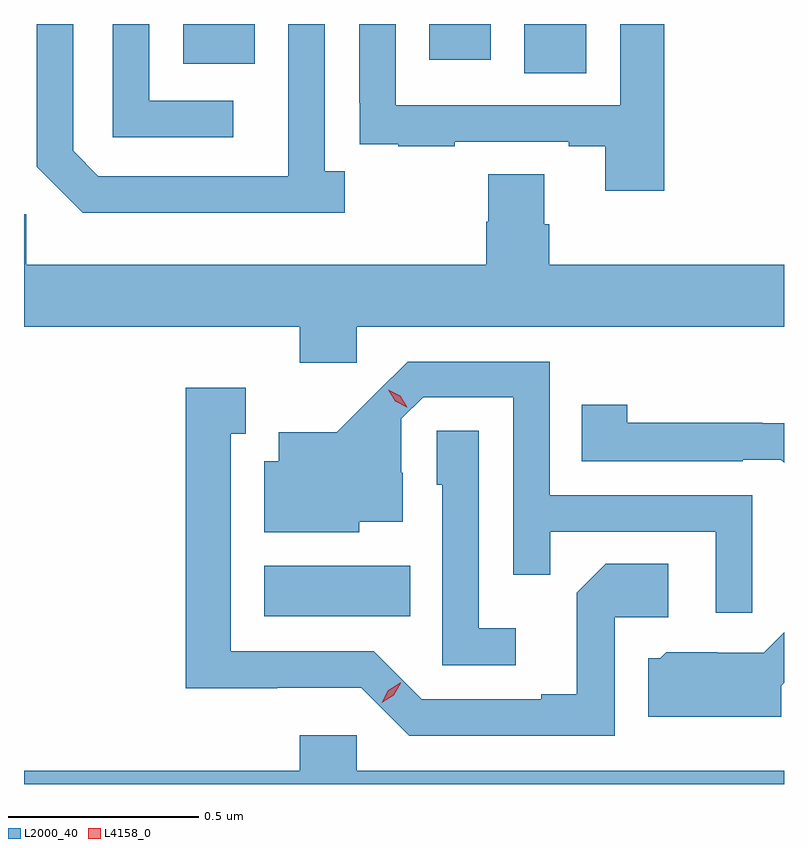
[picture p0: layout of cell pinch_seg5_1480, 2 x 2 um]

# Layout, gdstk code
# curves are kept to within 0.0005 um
import gdstk
lib = gdstk.Library(unit=1e-6, precision=1e-09)
def R(c, l, rs):  # rectangles x0, y0, x1, y1
    for r in rs: c.add(gdstk.rectangle(r[:2], r[2:], *l))
def P(c, l, *ps):  # polygons
    for p in ps: c.add(gdstk.Polygon(p, *l))
L2000_40 = (2000, 40)
L4158_0 = (4158, 0)

pinch_seg5_1480 = lib.new_cell('pinch_seg5_1480')
R(pinch_seg5_1480, L2000_40, [(139.37,905.282,139.754,905.416), (140.054,906.712,140.218,906.841), (139.157,906.737,139.345,906.841), (139.805,906.747,139.966,906.841)])
P(pinch_seg5_1480, L2000_40, [(139.582,906.454),(139.53,906.454),(139.53,906.841),(139.434,906.841),(139.433,906.441),(138.933,906.441),(138.867,906.507),(138.867,906.841),(138.771,906.841),(138.771,906.465),(138.892,906.344),(139.582,906.344)],
  [(139.288,906.639),(139.068,906.639),(139.068,906.841),(138.972,906.841),(138.972,906.543),(139.288,906.543)],
  [(140.423,906.841),(140.307,906.841),(140.307,906.627),(139.716,906.627),(139.716,906.841),(139.62,906.841),(139.62,906.634),(139.621,906.634),(139.621,906.525),(139.723,906.525),(139.723,906.519),(139.871,906.519),(139.871,906.531),(140.171,906.531),(140.171,906.519),(140.267,906.519),(140.267,906.402),(140.423,906.402)],
  [(139.614,906.044),(140.738,906.044),(140.738,906.208),(140.12,906.208),(140.12,906.314),(140.107,906.314),(140.107,906.446),(139.96,906.446),(139.96,906.321),(139.955,906.321),(139.955,906.208),(138.744,906.208),(138.744,906.34),(138.738,906.34),(138.738,906.044),(139.463,906.044),(139.463,905.949),(139.614,905.949)],
  [(140.655,905.601),(140.121,905.601),(140.121,905.952),(139.748,905.952),(139.561,905.767),(139.409,905.767),(139.409,905.691),(139.37,905.691),(139.37,905.504),(139.62,905.504),(139.62,905.531),(139.735,905.531),(139.735,905.66),(139.731,905.66),(139.731,905.802),(139.788,905.859),(140.025,905.859),(140.025,905.392),(140.123,905.392),(140.123,905.505),(140.559,905.505),(140.559,905.292),(140.655,905.292)],
  [(140.292,905.28),(140.434,905.28),(140.434,905.42),(140.269,905.42),(140.193,905.344),(140.193,905.077),(140.099,905.077),(140.099,905.064),(139.785,905.064),(139.659,905.19),(139.282,905.19),(139.282,905.763),(139.321,905.763),(139.321,905.884),(139.164,905.884),(139.164,905.093),(139.404,905.093),(139.404,905.094),(139.626,905.094),(139.752,904.968),(140.292,904.968)],
  [(140.738,905.791),(140.681,905.791),(140.681,905.792),(140.325,905.792),(140.325,905.839),(140.206,905.839),(140.206,905.691),(140.63,905.691),(140.63,905.694),(140.73,905.694),(140.738,905.686)],
  [(140.032,905.251),(139.935,905.251),(139.935,905.771),(139.824,905.771),(139.824,905.628),(139.839,905.628),(139.839,905.154),(140.032,905.154)],
  [(140.731,905.1),(140.738,905.107),(140.738,905.24),(140.685,905.187),(140.562,905.187),(140.562,905.188),(140.428,905.188),(140.412,905.172),(140.381,905.172),(140.381,905.018),(140.731,905.018)],
  [(140.738,904.876),(139.614,904.876),(139.614,904.969),(139.463,904.969),(139.463,904.876),(138.738,904.876),(138.738,904.841),(140.738,904.841)])
P(pinch_seg5_1480, L4158_0, [(139.68,905.055),(139.68,905.055),(139.697,905.088),(139.728,905.107),(139.729,905.107),(139.729,905.106),(139.711,905.074),(139.68,905.055)],
  [(139.745,905.833),(139.715,905.848),(139.697,905.878),(139.697,905.878),(139.697,905.878),(139.728,905.863),(139.746,905.833),(139.746,905.833)])

lib.write_gds('pinch_seg5_1480.gds')
